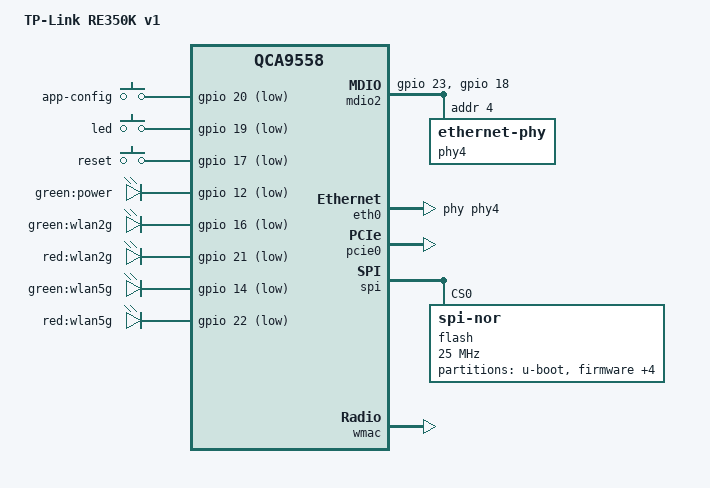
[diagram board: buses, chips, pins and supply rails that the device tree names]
// SPDX-License-Identifier: GPL-2.0-or-later OR MIT

#include "qca955x.dtsi"

#include <dt-bindings/gpio/gpio.h>
#include <dt-bindings/input/input.h>

/ {
	model = "TP-Link RE350K v1";
	compatible = "tplink,re350k-v1", "qca,qca9558";

	aliases {
		led-boot = &led_power;
		led-failsafe = &led_power;
		led-running = &led_power;
		led-upgrade = &led_power;
		mdio-gpio0 = &mdio2;
	};

	keys {
		compatible = "gpio-keys";

		app-config {
			label = "app-config";
			linux,code = <BTN_0>;
			gpios = <&gpio 20 GPIO_ACTIVE_LOW>;
			debounce-interval = <60>;
		};

		led {
			label = "led";
			linux,code = <BTN_1>;
			gpios = <&gpio 19 GPIO_ACTIVE_LOW>;
			debounce-interval = <60>;
		};

		reset {
			label = "reset";
			linux,code = <KEY_RESTART>;
			gpios = <&gpio 17 GPIO_ACTIVE_LOW>;
			debounce-interval = <60>;
		};
	};

	leds {
		compatible = "gpio-leds";

		led_power: power {
			label = "green:power";
			gpios = <&gpio 12 GPIO_ACTIVE_LOW>;
			default-state = "on";
		};

		wlan2g_green {
			label = "green:wlan2g";
			gpios = <&gpio 16 GPIO_ACTIVE_LOW>;
			linux,default-trigger = "phy1tpt";
		};

		wlan2g_red {
			label = "red:wlan2g";
			gpios = <&gpio 21 GPIO_ACTIVE_LOW>;
		};

		wlan5g_green {
			label = "green:wlan5g";
			gpios = <&gpio 14 GPIO_ACTIVE_LOW>;
			linux,default-trigger = "phy0tpt";
		};

		wlan5g_red {
			label = "red:wlan5g";
			gpios = <&gpio 22 GPIO_ACTIVE_LOW>;
		};
	};

	mdio2: mdio {
		compatible = "virtual,mdio-gpio";

		#address-cells = <1>;
		#size-cells = <0>;

		gpios = <&gpio 23 GPIO_ACTIVE_HIGH>,
			<&gpio 18 GPIO_ACTIVE_HIGH>;

		phy4: ethernet-phy@4 {
			reg = <4>;

			phy-mode = "rgmii-rxid";
			eee-broken-100tx;
			eee-broken-1000t;
		};
	};
};

&eth0 {
	status = "okay";

	phy-handle = <&phy4>;
	pll-data = <0x9e000000 0x80000101 0x80001313>;

	nvmem-cells = <&macaddr_info_8>;
	nvmem-cell-names = "mac-address";

	gmac-config {
		device = <&gmac>;

		rxdv-delay = <2>;
		rxd-delay = <2>;
		txen-delay = <0>;
		txd-delay = <0>;
		rgmii-enabled = <1>;
	};
};

&pcie0 {
	status = "okay";
};

&spi {
	status = "okay";

	flash@0 {
		compatible = "jedec,spi-nor";
		reg = <0>;
		spi-max-frequency = <25000000>;

		partitions {
			compatible = "fixed-partitions";
			#address-cells = <1>;
			#size-cells = <1>;

			partition@0 {
				label = "u-boot";
				reg = <0x000000 0x020000>;
				read-only;
			};

			partition@20000 {
				compatible = "tplink,firmware";
				label = "firmware";
				reg = <0x020000 0xd70000>;
			};

			partition@d90000 {
				label = "partition-table";
				reg = <0xd90000 0x010000>;
				read-only;
			};

			info: partition@da0000 {
				label = "info";
				reg = <0xda0000 0x020000>;
				read-only;
			};

			partition@dc0000 {
				label = "config";
				reg = <0xdc0000 0x230000>;
				read-only;
			};

			art: partition@ff0000 {
				label = "art";
				reg = <0xff0000 0x010000>;
				read-only;
			};
		};
	};
};

&wmac {
	status = "okay";

	mtd-cal-data = <&art 0x1000>;
	nvmem-cells = <&macaddr_info_8>;
	nvmem-cell-names = "mac-address";
};

&info {
	compatible = "nvmem-cells";
	#address-cells = <1>;
	#size-cells = <1>;

	macaddr_info_8: macaddr@8 {
		reg = <0x8 0x6>;
	};
};
